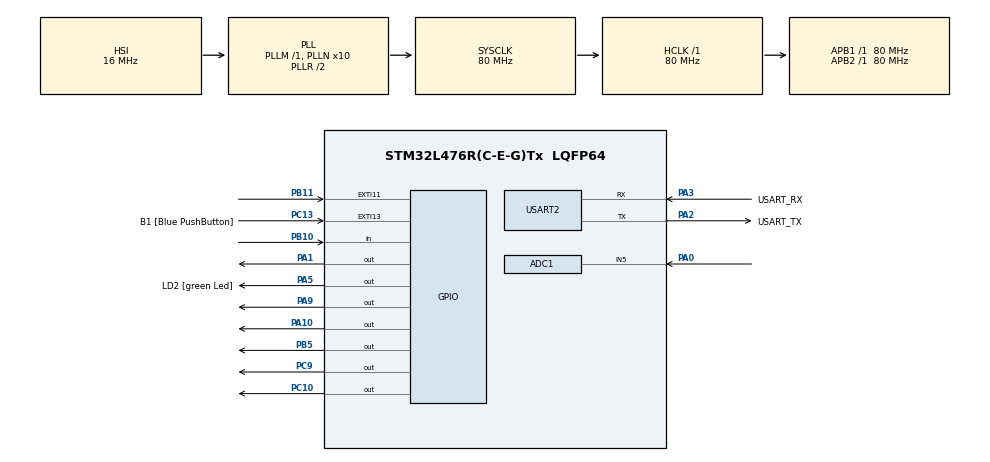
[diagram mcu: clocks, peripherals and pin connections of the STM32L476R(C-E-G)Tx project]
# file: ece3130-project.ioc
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ADC1.Channel-0\#ChannelRegularConversion=ADC_CHANNEL_5
ADC1.NbrOfConversionFlag=1
ADC1.OffsetNumber-0\#ChannelRegularConversion=ADC_OFFSET_NONE
ADC1.Rank-0\#ChannelRegularConversion=1
ADC1.SamplingTime-0\#ChannelRegularConversion=ADC_SAMPLETIME_2CYCLES_5
ADC1.master=1
Mcu.Family=STM32L4
Mcu.Name=STM32L476R(C-E-G)Tx
Mcu.Package=LQFP64
NVIC.PriorityGroup=NVIC_PRIORITYGROUP_4
PA0.Signal=ADCx_IN5
PA1.Signal=GPIO_Output
PA10.Signal=GPIO_Output
PA13\ (JTMS-SWDIO).GPIO_Label=TMS
PA13\ (JTMS-SWDIO).Mode=Serial_Wire
PA13\ (JTMS-SWDIO).Signal=SYS_JTMS-SWDIO
PA14\ (JTCK-SWCLK).GPIO_Label=TCK
PA14\ (JTCK-SWCLK).Mode=Serial_Wire
PA14\ (JTCK-SWCLK).Signal=SYS_JTCK-SWCLK
PA2.GPIO_Label=USART_TX
PA2.GPIO_Mode=GPIO_MODE_AF_PP
PA2.GPIO_PuPd=GPIO_NOPULL
PA2.GPIO_Speed=GPIO_SPEED_FREQ_VERY_HIGH
PA2.Mode=Asynchronous
PA2.Signal=USART2_TX
PA3.GPIO_Label=USART_RX
PA3.GPIO_Mode=GPIO_MODE_AF_PP
PA3.GPIO_PuPd=GPIO_NOPULL
PA3.GPIO_Speed=GPIO_SPEED_FREQ_VERY_HIGH
PA3.Mode=Asynchronous
PA3.Signal=USART2_RX
PA4.Signal=ADCx_IN9
PA5.GPIO_Label=LD2 [green Led]
PA5.GPIO_ModeDefaultOutputPP=GPIO_MODE_OUTPUT_PP
PA5.GPIO_PuPd=GPIO_NOPULL
PA5.GPIO_Speed=GPIO_SPEED_FREQ_LOW
PA5.Signal=GPIO_Output
PA9.Signal=GPIO_Output
PB10.Signal=GPIO_Input
PB11.Signal=GPXTI11
PB3\ (JTDO-TRACESWO).GPIO_Label=SWO
PB3\ (JTDO-TRACESWO).Signal=SYS_JTDO-SWO
PB5.Signal=GPIO_Output
PC10.Signal=GPIO_Output
PC13.GPIO_Label=B1 [Blue PushButton]
PC13.GPIO_ModeDefaultEXTI=GPIO_MODE_IT_FALLING
PC13.GPIO_PuPd=GPIO_NOPULL
PC13.Signal=GPXTI13
PC14-OSC32_IN\ (PC14).Mode=LSE-External-Oscillator
PC14-OSC32_IN\ (PC14).Signal=RCC_OSC32_IN
PC15-OSC32_OUT\ (PC15).Mode=LSE-External-Oscillator
PC15-OSC32_OUT\ (PC15).Signal=RCC_OSC32_OUT
PC9.Signal=GPIO_Output
PH0-OSC_IN\ (PH0).Signal=RCC_OSC_IN
PH1-OSC_OUT\ (PH1).Signal=RCC_OSC_OUT
ProjectManager.HeapSize=0x200
ProjectManager.StackSize=0x400
ProjectManager.TargetToolchain=CMake
RCC.ADCFreq_Value=64000000
RCC.AHBFreq_Value=80000000
RCC.APB1Freq_Value=80000000
RCC.APB1TimFreq_Value=80000000
RCC.APB2Freq_Value=80000000
RCC.APB2TimFreq_Value=80000000
RCC.CortexFreq_Value=80000000
RCC.HCLKFreq_Value=80000000
RCC.HSE_VALUE=8000000
RCC.HSI_VALUE=16000000
RCC.MSI_VALUE=4000000
RCC.PLLN=10
RCC.PLLSourceVirtual=RCC_PLLSOURCE_HSI
RCC.PREFETCH_ENABLE=1
RCC.SYSCLKFreq_VALUE=80000000
RCC.SYSCLKSource=RCC_SYSCLKSOURCE_PLLCLK
RCC.USBFreq_Value=64000000
RCC.VCOOutputFreq_Value=160000000
SH.ADCx_IN5.0=ADC1_IN5,IN5-Single-Ended
SH.ADCx_IN9.0=ADC1_IN9
USART2.VirtualMode-Asynchronous=VM_ASYNC
board=NUCLEO-L476RG

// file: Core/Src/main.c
/* USER CODE BEGIN Header */
/**
 ******************************************************************************
 * @file           : main.c
 * @brief          : Main program body
 ******************************************************************************
 * @attention
 *
 * Copyright (c) 2026 STMicroelectronics.
 * All rights reserved.
 *
 * This software is licensed under terms that can be found in the LICENSE file
 * in the root directory of this software component.
 * If no LICENSE file comes with this software, it is provided AS-IS.
 *
 ******************************************************************************
 */
#include "stm32l4xx_hal.h"
#include "util.h"
#include <stdbool.h>
#include <stddef.h>
#include <stdint.h>
#include <stdio.h>
#include <stdlib.h>
#include <string.h>

/* USER CODE END Header */
#include "main.h"

ADC_HandleTypeDef hadc1;

UART_HandleTypeDef huart2;

void SystemClock_Config(void);
static void MX_GPIO_Init(void);
static void MX_USART2_UART_Init(void);
static void MX_ADC1_Init(void);

int main(void) {

  /* MCU Configuration--------------------------------------------------------*/

  /* Reset of all peripherals, Initializes the Flash interface and the Systick.
   */
  HAL_Init();

  /* Configure the system clock */
  SystemClock_Config();

  /* Initialize all configured peripherals */
  MX_GPIO_Init();
  MX_USART2_UART_Init();
  MX_ADC1_Init();
  /* USER CODE BEGIN 2 */
  LCD_Init();
  h_SetCursor(0); // turn off cursor for a cleaner look

welcome:
    // Set the game state to welcome so the interrupt knows where we are
  GAME_STATE = GAME_WELCOME;
  g_PrintWelcome(); // Print the welcome screen text
  /* USER CODE END 2 */

  /* Infinite loop */
  /* USER CODE BEGIN WHILE */
  while (1)
  {
    int KnownR = 980; // 1kOhm
    HAL_GPIO_WritePin(GPIOC, GPIO_PIN_9, GPIO_PIN_SET);

    HAL_ADC_Start(&hadc1);
    HAL_ADC_PollForConversion(&hadc1, HAL_MAX_DELAY);
    raw = HAL_ADC_GetValue(&hadc1);

    HAL_GPIO_WritePin(GPIOC, GPIO_PIN_9, GPIO_PIN_RESET);
    float measured_volts = 3.3f*(raw / 4095.0f);

    float ActiveR = ((3.3 * KnownR)/(measured_volts))-KnownR;

    int r1000 = ActiveR * 1000;
    int v1000 = measured_volts * 1000;
    sprintf(msg, ">R:%d\r\n>V:%d.%03d\r\n", r1000 / 1000, v1000 / 1000, v1000 % 1000);
    HAL_UART_Transmit(&huart2, (uint8_t*)msg, strlen(msg), HAL_MAX_DELAY);

    HAL_Delay(100);
    /* USER CODE END WHILE */

    /* USER CODE BEGIN 3 */
  }

  // SysTick will get us out of the previous while loop after 10 seconds, or when we manually break

  // Store the current time so we can keep displaying it on the 7seg so users can keep track of their PB
  // We also store the current tick so we can use it and break after 2000ms
  uint16_t currTime = TIME_LEFT_MS;
  uint32_t initialTick = HAL_GetTick();
  GAME_STATE = GAME_POST_ROUND;
  while (1) {
    h_7S_Scheduled_Param(currTime);
    if (HAL_GetTick() > (initialTick + 2000)) {
      break;
    }
  }

  // Can be a redudant check if they already slotted in the correct resistor, but its neglibible
  // Check if the resistor found is correct or ont
  if (resistorLowTolerance < resistance && resistance < resistorHighTolerance) {
      // Print the resistor found screen
    g_ResistorFound();

    // Wait a few seconds then move on to the next round
    HAL_Delay(3000);
    rounds++;
    if (rounds > 5) {
        // If they played all 5 rounds, then thats all of the game
        // We jump to welcome instead of next round so someone else can play it
      g_CompleteFiveRounds();
      HAL_Delay(1000);

      // Using goto lets us keep all the game logic in one place without having to reinitialize
      // and reset a bunch of variables. For a larger project this would be a bad practice but this game
      // is pretty linear
      goto welcome;
    } else {
        // Go back to next round for another round
      goto next_round;
    }
  } else {
      // Similarly, show resistor not found screen
    g_ResistorNotFound();
    HAL_Delay(3000);
    rounds++;
    if (rounds > 5) {
      g_CompleteFiveRounds();
      HAL_Delay(1000);
      goto welcome;
    } else {
      goto next_round;
    }
  }

  /* USER CODE END WHILE */

  /* USER CODE BEGIN 3 */
}
/* USER CODE END 3 */

void SystemClock_Config(void) {
  RCC_OscInitTypeDef RCC_OscInitStruct = {0};
  RCC_ClkInitTypeDef RCC_ClkInitStruct = {0};

  /** Configure the main internal regulator output voltage
   */
  if (HAL_PWREx_ControlVoltageScaling(PWR_REGULATOR_VOLTAGE_SCALE1) != HAL_OK) {
    Error_Handler();
  }

  /** Initializes the RCC Oscillators according to the specified parameters
   * in the RCC_OscInitTypeDef structure.
   */
  RCC_OscInitStruct.OscillatorType = RCC_OSCILLATORTYPE_HSI;
  RCC_OscInitStruct.HSIState = RCC_HSI_ON;
  RCC_OscInitStruct.HSICalibrationValue = RCC_HSICALIBRATION_DEFAULT;
  RCC_OscInitStruct.PLL.PLLState = RCC_PLL_ON;
  RCC_OscInitStruct.PLL.PLLSource = RCC_PLLSOURCE_HSI;
  RCC_OscInitStruct.PLL.PLLM = 1;
  RCC_OscInitStruct.PLL.PLLN = 10;
  RCC_OscInitStruct.PLL.PLLP = RCC_PLLP_DIV7;
  RCC_OscInitStruct.PLL.PLLQ = RCC_PLLQ_DIV2;
  RCC_OscInitStruct.PLL.PLLR = RCC_PLLR_DIV2;
  if (HAL_RCC_OscConfig(&RCC_OscInitStruct) != HAL_OK) {
    Error_Handler();
  }

  /** Initializes the CPU, AHB and APB buses clocks
   */
  RCC_ClkInitStruct.ClockType = RCC_CLOCKTYPE_HCLK | RCC_CLOCKTYPE_SYSCLK |
                                RCC_CLOCKTYPE_PCLK1 | RCC_CLOCKTYPE_PCLK2;
  RCC_ClkInitStruct.SYSCLKSource = RCC_SYSCLKSOURCE_PLLCLK;
  RCC_ClkInitStruct.AHBCLKDivider = RCC_SYSCLK_DIV1;
  RCC_ClkInitStruct.APB1CLKDivider = RCC_HCLK_DIV1;
  RCC_ClkInitStruct.APB2CLKDivider = RCC_HCLK_DIV1;

  if (HAL_RCC_ClockConfig(&RCC_ClkInitStruct, FLASH_LATENCY_4) != HAL_OK) {
    Error_Handler();
  }
}

static void MX_ADC1_Init(void) {

  ADC_MultiModeTypeDef multimode = {0};
  ADC_ChannelConfTypeDef sConfig = {0};

  /** Common config
   */
  hadc1.Instance = ADC1;
  hadc1.Init.ClockPrescaler = ADC_CLOCK_ASYNC_DIV1;
  hadc1.Init.Resolution = ADC_RESOLUTION_12B;
  hadc1.Init.DataAlign = ADC_DATAALIGN_RIGHT;
  hadc1.Init.ScanConvMode = ADC_SCAN_DISABLE;
  hadc1.Init.EOCSelection = ADC_EOC_SINGLE_CONV;
  hadc1.Init.LowPowerAutoWait = DISABLE;
  hadc1.Init.ContinuousConvMode = DISABLE;
  hadc1.Init.NbrOfConversion = 1;
  hadc1.Init.DiscontinuousConvMode = DISABLE;
  hadc1.Init.ExternalTrigConv = ADC_SOFTWARE_START;
  hadc1.Init.ExternalTrigConvEdge = ADC_EXTERNALTRIGCONVEDGE_NONE;
  hadc1.Init.DMAContinuousRequests = DISABLE;
  hadc1.Init.Overrun = ADC_OVR_DATA_PRESERVED;
  hadc1.Init.OversamplingMode = DISABLE;
  if (HAL_ADC_Init(&hadc1) != HAL_OK) {
    Error_Handler();
  }

  /** Configure the ADC multi-mode
   */
  multimode.Mode = ADC_MODE_INDEPENDENT;
  if (HAL_ADCEx_MultiModeConfigChannel(&hadc1, &multimode) != HAL_OK) {
    Error_Handler();
  }

  /** Configure Regular Channel
   */
  sConfig.Channel = ADC_CHANNEL_5;
  sConfig.Rank = ADC_REGULAR_RANK_1;
  sConfig.SamplingTime = ADC_SAMPLETIME_2CYCLES_5;
  sConfig.SingleDiff = ADC_SINGLE_ENDED;
  sConfig.OffsetNumber = ADC_OFFSET_NONE;
  sConfig.Offset = 0;
  if (HAL_ADC_ConfigChannel(&hadc1, &sConfig) != HAL_OK) {
    Error_Handler();
  }
}

static void MX_USART2_UART_Init(void) {

  huart2.Instance = USART2;
  huart2.Init.BaudRate = 115200;
  huart2.Init.WordLength = UART_WORDLENGTH_8B;
  huart2.Init.StopBits = UART_STOPBITS_1;
  huart2.Init.Parity = UART_PARITY_NONE;
  huart2.Init.Mode = UART_MODE_TX_RX;
  huart2.Init.HwFlowCtl = UART_HWCONTROL_NONE;
  huart2.Init.OverSampling = UART_OVERSAMPLING_16;
  huart2.Init.OneBitSampling = UART_ONE_BIT_SAMPLE_DISABLE;
  huart2.AdvancedInit.AdvFeatureInit = UART_ADVFEATURE_NO_INIT;
  if (HAL_UART_Init(&huart2) != HAL_OK) {
    Error_Handler();
  }
}

static void MX_GPIO_Init(void) {
  GPIO_InitTypeDef GPIO_InitStruct = {0};

  /* GPIO Ports Clock Enable */
  __HAL_RCC_GPIOC_CLK_ENABLE();
  __HAL_RCC_GPIOH_CLK_ENABLE();
  __HAL_RCC_GPIOA_CLK_ENABLE();
  __HAL_RCC_GPIOB_CLK_ENABLE();

  /*Configure GPIO pin Output Level */
  HAL_GPIO_WritePin(GPIOA, GPIO_PIN_1 | LD2_Pin | GPIO_PIN_9 | GPIO_PIN_10,
                    GPIO_PIN_RESET);

  /*Configure GPIO pin Output Level */
  HAL_GPIO_WritePin(GPIOC, GPIO_PIN_9 | GPIO_PIN_10, GPIO_PIN_RESET);

  /*Configure GPIO pin Output Level */
  HAL_GPIO_WritePin(GPIOB, GPIO_PIN_5, GPIO_PIN_RESET);

  /*Configure GPIO pin : B1_Pin */
  GPIO_InitStruct.Pin = B1_Pin;
  GPIO_InitStruct.Mode = GPIO_MODE_IT_FALLING;
  GPIO_InitStruct.Pull = GPIO_NOPULL;
  HAL_GPIO_Init(B1_GPIO_Port, &GPIO_InitStruct);

  /*Configure GPIO pins : PA1 LD2_Pin PA9 PA10 */
  GPIO_InitStruct.Pin = GPIO_PIN_1 | LD2_Pin | GPIO_PIN_9 | GPIO_PIN_10;
  GPIO_InitStruct.Mode = GPIO_MODE_OUTPUT_PP;
  GPIO_InitStruct.Pull = GPIO_NOPULL;
  GPIO_InitStruct.Speed = GPIO_SPEED_FREQ_LOW;
  HAL_GPIO_Init(GPIOA, &GPIO_InitStruct);

  /*Configure GPIO pin : PB10 */
  GPIO_InitStruct.Pin = GPIO_PIN_10;
  GPIO_InitStruct.Mode = GPIO_MODE_INPUT;
  GPIO_InitStruct.Pull = GPIO_NOPULL;
  HAL_GPIO_Init(GPIOB, &GPIO_InitStruct);

  /*Configure GPIO pin : PB11 */
  GPIO_InitStruct.Pin = GPIO_PIN_11;
  GPIO_InitStruct.Mode = GPIO_MODE_IT_RISING;
  GPIO_InitStruct.Pull = GPIO_NOPULL;
  HAL_GPIO_Init(GPIOB, &GPIO_InitStruct);

  /*Configure GPIO pins : PC9 PC10 */
  GPIO_InitStruct.Pin = GPIO_PIN_9 | GPIO_PIN_10;
  GPIO_InitStruct.Mode = GPIO_MODE_OUTPUT_PP;
  GPIO_InitStruct.Pull = GPIO_NOPULL;
  GPIO_InitStruct.Speed = GPIO_SPEED_FREQ_LOW;
  HAL_GPIO_Init(GPIOC, &GPIO_InitStruct);

  /*Configure GPIO pin : PB5 */
  GPIO_InitStruct.Pin = GPIO_PIN_5;
  GPIO_InitStruct.Mode = GPIO_MODE_OUTPUT_PP;
  GPIO_InitStruct.Pull = GPIO_NOPULL;
  GPIO_InitStruct.Speed = GPIO_SPEED_FREQ_LOW;
  HAL_GPIO_Init(GPIOB, &GPIO_InitStruct);

  /* USER CODE BEGIN MX_GPIO_Init_2 */

  HAL_NVIC_SetPriority(EXTI15_10_IRQn, 2, 0);
  HAL_NVIC_EnableIRQ(EXTI15_10_IRQn);

  /* USER CODE END MX_GPIO_Init_2 */
}

void Error_Handler(void) {
  __disable_irq();
  while (1) {
  }
}
#ifdef USE_FULL_ASSERT
/**
 * @brief  Reports the name of the source file and the source line number
 *         where the assert_param error has occurred.
 * @param  file: pointer to the source file name
 * @param  line: assert_param error line source number
 * @retval None
 */
void assert_failed(uint8_t *file, uint32_t line) {
  /* USER CODE BEGIN 6 */
  /* User can add his own implementation to report the file name and line
     number, ex: printf("Wrong parameters value: file %s on line %d\r\n", file,
     line) */
  /* USER CODE END 6 */
}
#endif /* USE_FULL_ASSERT */
